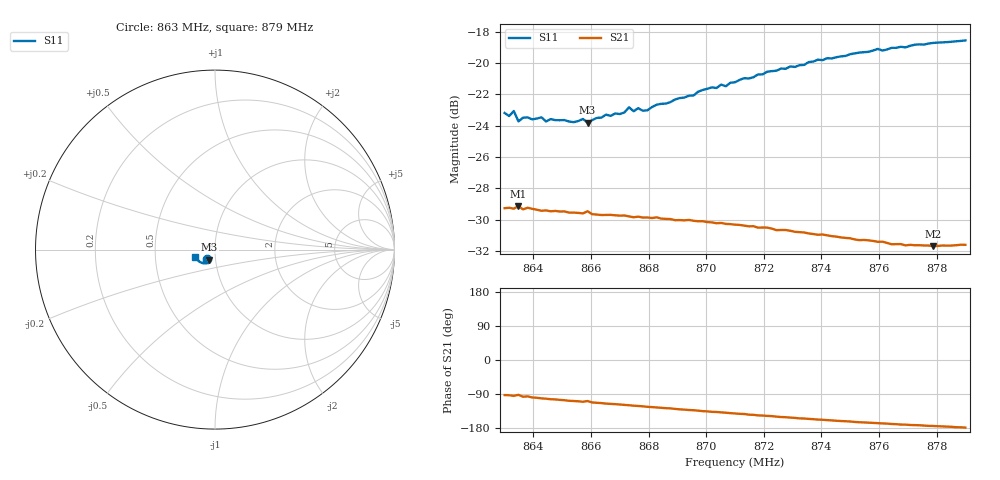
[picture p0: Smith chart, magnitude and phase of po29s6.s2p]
# HZ S RI R 50
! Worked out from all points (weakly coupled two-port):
!   101 points, 863 MHz to 879 MHz, reference 50 ohm
!   highest |S21| = -29.13 dB at 863.48 MHz (marker M1); lowest = -31.7 dB at 877.88 MHz (marker M2)
!   lowest |S11| = -23.8 dB at 865.88 MHz (marker M3), VSWR 1.14, Z = 46.7 - j5.28 ohm
!   |S11| at or under -10 dB: start of sweep to end of sweep
!   S12 and S22 are empty: the file has one direction only
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8.63e8  -0.0448 -0.0529  -0.00154 -0.0344  0 0  0 0
8.6316e8  -0.0426 -0.0527  -0.00182 -0.0345  0 0  0 0
8.6332e8  -0.0449 -0.0542  -0.00279 -0.0342  0 0  0 0
8.6348e8  -0.0369 -0.0537  -0.00113 -0.035  0 0  0 0
8.638e8  -0.0413 -0.0529  -0.00356 -0.0344  0 0  0 0
8.6428e8  -0.0392 -0.0545  -0.00659 -0.0332  0 0  0 0
8.6444e8  -0.0383 -0.0527  -0.00709 -0.0331  0 0  0 0
8.654e8  -0.0354 -0.0543  -0.0104 -0.0317  0 0  0 0
8.6572e8  -0.0357 -0.0559  -0.0114 -0.0311  0 0  0 0
8.6588e8  -0.0316 -0.0564  -0.0106 -0.032  0 0  0 0
8.6652e8  -0.0352 -0.0587  -0.0139 -0.0297  0 0  0 0
8.6716e8  -0.0343 -0.0605  -0.0155 -0.0287  0 0  0 0
8.6732e8  -0.0388 -0.061  -0.0159 -0.0283  0 0  0 0
8.6748e8  -0.0342 -0.0613  -0.0164 -0.0278  0 0  0 0
8.6764e8  -0.0348 -0.0628  -0.0168 -0.0277  0 0  0 0
8.6796e8  -0.034 -0.062  -0.0178 -0.0268  0 0  0 0
8.6844e8  -0.0351 -0.0653  -0.0188 -0.0258  0 0  0 0
8.71e8  -0.047 -0.0731  -0.0237 -0.0192  0 0  0 0
8.7372e8  -0.0677 -0.0751  -0.026 -0.0115  0 0  0 0
8.7644e8  -0.0928 -0.0625  -0.0259 -0.0051  0 0  0 0
8.7788e8  -0.1043 -0.0507  -0.0259 -0.00269  0 0  0 0
8.79e8  -0.1114 -0.0394  -0.0263 -0.000707  0 0  0 0
